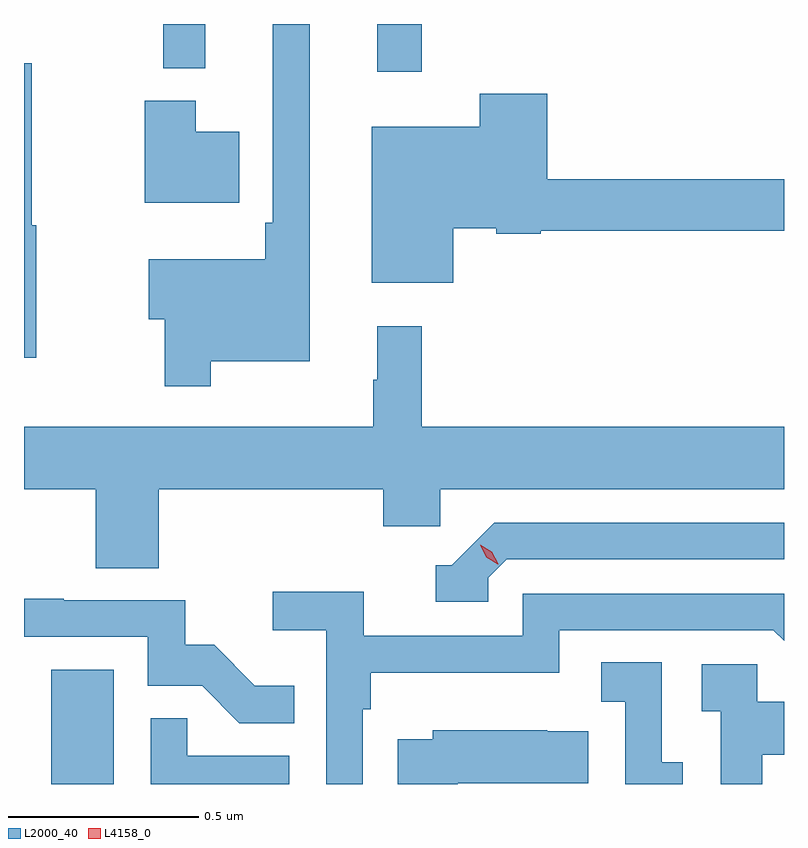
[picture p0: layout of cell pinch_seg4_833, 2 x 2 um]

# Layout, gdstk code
import gdstk
lib = gdstk.Library(unit=1e-6, precision=1e-09)
def R(c, l, rs):  # rectangles x0, y0, x1, y1
    for r in rs: c.add(gdstk.rectangle(r[:2], r[2:], *l))
def P(c, l, *ps):  # polygons
    for p in ps: c.add(gdstk.Polygon(p, *l))
L2000_40 = (2000, 40)
L4158_0 = (4158, 0)

pinch_seg4_833 = lib.new_cell('pinch_seg4_833')
R(pinch_seg4_833, L2000_40, [(804.458,793.38,804.622,793.681), (805.316,795.255,805.433,795.38), (804.753,795.263,804.863,795.38)])
P(pinch_seg4_833, L2000_40, [(804.877,794.492),(805.138,794.492),(805.138,795.379),(805.041,795.379),(805.041,794.857),(805.021,794.857),(805.021,794.761),(804.714,794.761),(804.714,794.603),(804.756,794.603),(804.756,794.427),(804.877,794.427)],
  [(804.418,794.85),(804.406,794.85),(804.406,795.277),(804.386,795.277),(804.386,794.502),(804.418,794.502)],
  [(805.516,794.843),(805.629,794.843),(805.629,794.828),(805.746,794.828),(805.746,794.836),(806.386,794.836),(806.386,794.972),(805.763,794.972),(805.763,795.196),(805.585,795.196),(805.585,795.109),(805.301,795.109),(805.301,794.699),(805.516,794.699)],
  [(804.952,795.097),(804.838,795.097),(804.838,795.178),(804.704,795.178),(804.704,794.909),(804.952,794.909)],
  [(804.74,794.156),(805.331,794.156),(805.331,794.058),(805.482,794.058),(805.482,794.156),(806.386,794.156),(806.386,794.32),(805.433,794.32),(805.433,794.584),(805.316,794.584),(805.316,794.444),(805.305,794.444),(805.305,794.32),(804.386,794.32),(804.386,794.156),(804.575,794.156),(804.575,793.948),(804.74,793.948)],
  [(805.608,793.923),(805.656,793.971),(806.386,793.971),(806.386,794.067),(805.623,794.067),(805.512,793.956),(805.469,793.956),(805.469,793.86),(805.608,793.86)],
  [(805.278,793.577),(805.298,793.577),(805.298,793.673),(805.794,793.673),(805.794,793.785),(806.358,793.785),(806.386,793.757),(806.386,793.881),(805.698,793.881),(805.698,793.77),(805.28,793.77),(805.28,793.886),(805.041,793.886),(805.041,793.784),(805.182,793.784),(805.182,793.38),(805.278,793.38)],
  [(805.097,793.639),(804.993,793.639),(804.886,793.746),(804.81,793.746),(804.81,793.863),(804.491,793.863),(804.491,793.868),(804.386,793.868),(804.386,793.767),(804.711,793.767),(804.711,793.638),(804.855,793.638),(804.953,793.54),(805.097,793.54)],
  [(806.119,793.437),(806.064,793.437),(806.064,793.7),(805.905,793.7),(805.905,793.597),(805.968,793.597),(805.968,793.38),(806.119,793.38)],
  [(806.329,793.457),(806.386,793.457),(806.386,793.597),(806.316,793.597),(806.316,793.695),(806.169,793.695),(806.169,793.571),(806.22,793.571),(806.22,793.38),(806.329,793.38)],
  [(805.084,793.455),(804.815,793.455),(804.815,793.553),(804.72,793.553),(804.72,793.38),(805.084,793.38)],
  [(805.528,793.382),(805.871,793.382),(805.871,793.519),(805.763,793.519),(805.763,793.522),(805.461,793.522),(805.461,793.498),(805.37,793.498),(805.37,793.38),(805.528,793.38)])
P(pinch_seg4_833, L4158_0, [(805.633,793.958),(805.602,793.977),(805.586,794.009),(805.586,794.01),(805.586,794.01),(805.617,793.991),(805.634,793.959),(805.634,793.958)])

lib.write_gds('pinch_seg4_833.gds')
